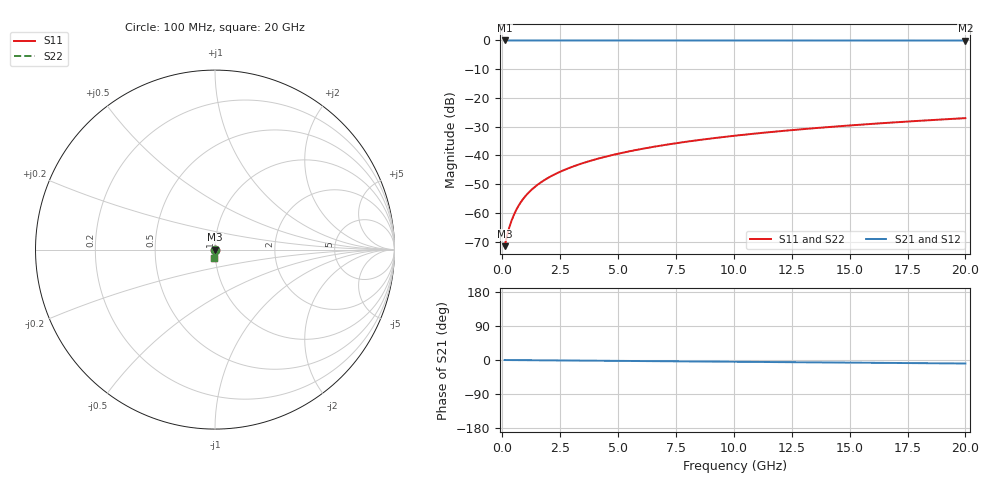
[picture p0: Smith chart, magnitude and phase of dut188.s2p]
! Touchstone file exported from HFSS 2026.1.0
!  File:  C:/ffzhzh/LocalFiles/Ansys_Project_Files/temp_train_TSV_188_1782991452_6248.aedt
!  Generated:  07:25:40 PM Jul  2, 2026
!  Design:  TSV
!  Project:  temp_train_TSV_188_1782991452_6248
! Variables:
!  h_bsmrdl = 2um
!  h_ox = 20um
!  h_rdl = 5um
!  h_sub = 96.13um
!  h_tmrdl = 5um
!  h_tsv = 96.13um
!  h_via = 3um
!  l_bsmrdl = 300um
!  l_sub = 416.46um
!  l_tmrdl = 200um
!  m_sub = 200um
!  pitch = 25.79um
!  r_tsv = 8.23um
!  s_tmrdl = 10um
!  w_bsmrdl = 18um
!  w_sub = 500um
!  w_tmrdl = 12um
!  x_tsv_center1 = 206um
!  x_tsv_center2 = 524um
!  x_tsv_center3 = 736um
!  x_tsv_center4 = 1054um
!  x_tsv_center5 = 1266um
!  x_tsv_center6 = 1584um
# GHz S MA R 50.000000
! Terminal data exported
! Port[1] = TSV1_1_T1
! Port[2] = TSV1_1_T2
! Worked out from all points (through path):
!   200 points, 100 MHz to 20 GHz, reference 50 ohm
!   highest |S21| = 0.00 dB at 100 MHz (marker M1); lowest = 0.0 dB at 20 GHz (marker M2)
!   group delay of S21, straight-line fit = 1.28 ps
!   lowest |S11| = -71.5 dB at 100 MHz (marker M3), VSWR 1.00, Z = 50 - j0.0158 ohm
!   |S11| at or under -10 dB: start of sweep to end of sweep
!   |S22| runs from -71.5 to -27.0 dB; largest |S21 - S12| = 2.2e-15
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0.1  0.000265 -36.7  0.9998 -0.0  0.9998 -0.0  0.000265 -36.7
! Gamma 0 0 0 0
! Port Impedance 50 0 50 0
0.2  0.0003966 -54.2  0.9998 -0.1  0.9998 -0.1  0.0003966 -54.2
0.3  0.0005584 -62.2  0.9997 -0.1  0.9997 -0.1  0.0005584 -62.2
0.4  0.0007372 -66.5  0.9997 -0.2  0.9997 -0.2  0.0007372 -66.5
0.5  0.000928 -69.3  0.9997 -0.2  0.9997 -0.2  0.000928 -69.3
0.6  0.001127 -71.3  0.9996 -0.3  0.9996 -0.3  0.001127 -71.3
0.8  0.001542 -74.2  0.9996 -0.4  0.9996 -0.4  0.001542 -74.2
1.1  0.002183 -77.3  0.9995 -0.5  0.9995 -0.5  0.002183 -77.3
1.3  0.002615 -78.7  0.9995 -0.6  0.9995 -0.6  0.002615 -78.7
1.5  0.003048 -79.9  0.9994 -0.7  0.9994 -0.7  0.003048 -79.9
1.8  0.003699 -81.3  0.9994 -0.9  0.9994 -0.9  0.003699 -81.3
2.1  0.00435 -82.4  0.9993 -1.0  0.9993 -1.0  0.00435 -82.4
2.7  0.005655 -84.0  0.9993 -1.3  0.9993 -1.3  0.005655 -84.0
3.5  0.007406 -85.4  0.9992 -1.6  0.9992 -1.6  0.007406 -85.3
4.2  0.008949 -86.3  0.9991 -2.0  0.9991 -2.0  0.008949 -86.3
5  0.01073 -87.1  0.999 -2.3  0.999 -2.3  0.01073 -87.1
6.8  0.01475 -88.7  0.9987 -3.2  0.9987 -3.2  0.01475 -88.7
8.3  0.01813 -89.8  0.9986 -3.9  0.9986 -3.9  0.01813 -89.8
10.1  0.0222 -91.1  0.9983 -4.7  0.9983 -4.7  0.0222 -91.1
13.4  0.02965 -93.1  0.9979 -6.2  0.9979 -6.2  0.02965 -93.1
16.7  0.03711 -94.9  0.9975 -7.7  0.9975 -7.7  0.03711 -94.9
20  0.04458 -96.7  0.997 -9.2  0.997 -9.2  0.04458 -96.7
